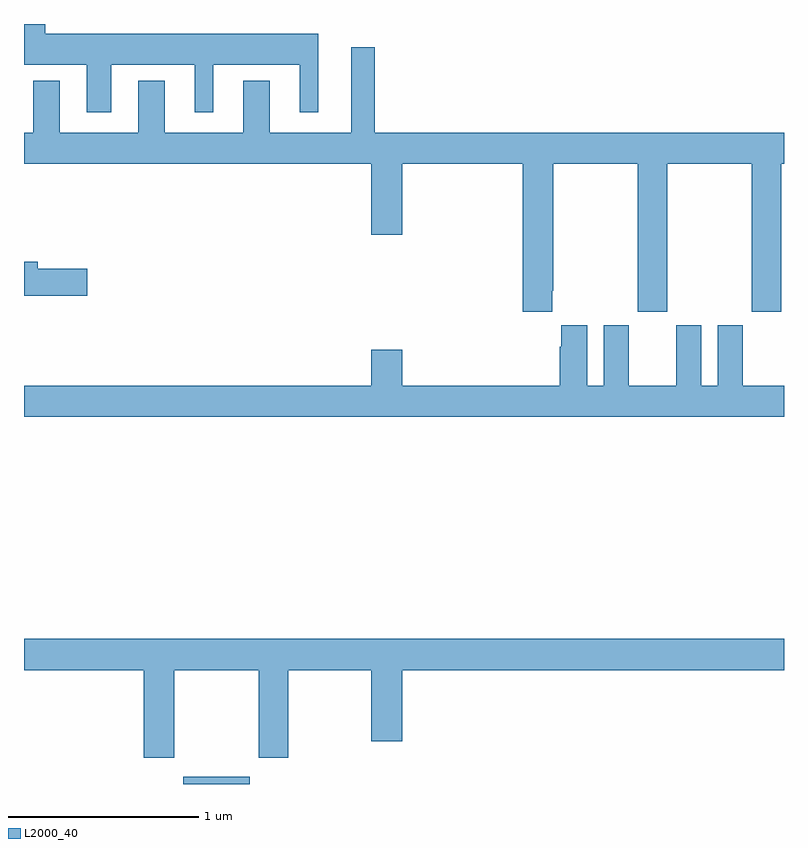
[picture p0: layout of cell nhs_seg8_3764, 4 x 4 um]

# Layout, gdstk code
import gdstk
lib = gdstk.Library(unit=1e-6, precision=1e-09)
def R(c, l, rs):  # rectangles x0, y0, x1, y1
    for r in rs: c.add(gdstk.rectangle(r[:2], r[2:], *l))
def P(c, l, *ps):  # polygons
    for p in ps: c.add(gdstk.Polygon(p, *l))
L2000_40 = (2000, 40)

nhs_seg8_3764 = lib.new_cell('nhs_seg8_3764')
R(nhs_seg8_3764, L2000_40, [(343.838,1115.9,344.188,1115.938)])
P(nhs_seg8_3764, L2000_40, [(343.459,1119.686),(343.898,1119.686),(343.898,1119.435),(343.996,1119.435),(343.996,1119.686),(344.45,1119.686),(344.45,1119.435),(344.548,1119.435),(344.548,1119.85),(343.111,1119.85),(343.111,1119.9),(343,1119.9),(343,1119.686),(343.331,1119.686),(343.331,1119.435),(343.459,1119.435)],
  [(345.781,1118.497),(345.786,1118.497),(345.786,1119.164),(346.231,1119.164),(346.231,1118.385),(346.386,1118.385),(346.386,1119.164),(346.831,1119.164),(346.831,1118.385),(346.986,1118.385),(346.986,1119.164),(347,1119.164),(347,1119.328),(344.845,1119.328),(344.845,1119.778),(344.723,1119.778),(344.723,1119.328),(344.293,1119.328),(344.293,1119.601),(344.153,1119.601),(344.153,1119.328),(343.741,1119.328),(343.741,1119.601),(343.601,1119.601),(343.601,1119.328),(343.189,1119.328),(343.189,1119.601),(343.049,1119.601),(343.049,1119.328),(343,1119.328),(343,1119.164),(344.828,1119.164),(344.828,1118.79),(344.992,1118.79),(344.992,1119.164),(345.626,1119.164),(345.626,1118.385),(345.781,1118.385)],
  [(343.333,1118.612),(343.072,1118.612),(343.072,1118.648),(343,1118.648),(343,1118.47),(343.333,1118.47)],
  [(347,1117.996),(346.783,1117.996),(346.783,1118.314),(346.652,1118.314),(346.652,1117.996),(346.564,1117.996),(346.564,1118.314),(346.433,1118.314),(346.433,1117.996),(346.183,1117.996),(346.183,1118.314),(346.052,1118.314),(346.052,1117.996),(345.964,1117.996),(345.964,1118.314),(345.827,1118.314),(345.827,1118.201),(345.821,1118.201),(345.821,1117.996),(344.992,1117.996),(344.992,1118.185),(344.828,1118.185),(344.828,1117.996),(343,1117.996),(343,1117.832),(347,1117.832)],
  [(343.791,1116.5),(344.236,1116.5),(344.236,1116.039),(344.391,1116.039),(344.391,1116.5),(344.828,1116.5),(344.828,1116.126),(344.992,1116.126),(344.992,1116.5),(347,1116.5),(347,1116.664),(343,1116.664),(343,1116.5),(343.631,1116.5),(343.631,1116.039),(343.791,1116.039)])

lib.write_gds('nhs_seg8_3764.gds')
